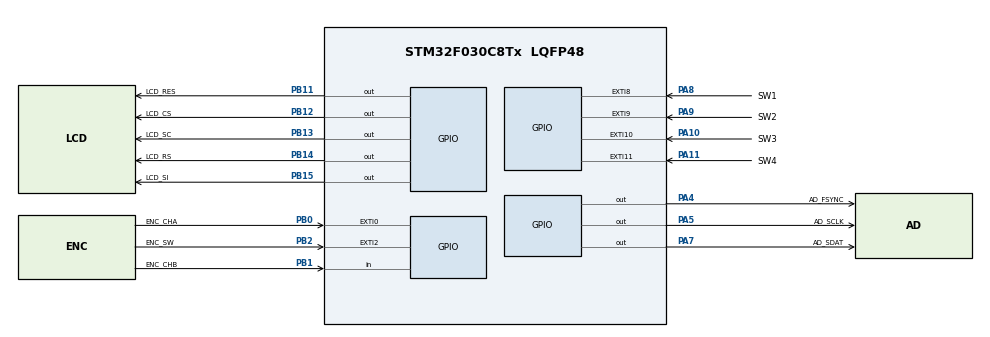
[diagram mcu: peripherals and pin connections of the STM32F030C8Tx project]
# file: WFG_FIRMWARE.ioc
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Mcu.Family=STM32F0
Mcu.Name=STM32F030C8Tx
Mcu.Package=LQFP48
NVIC.EXTI0_1_IRQn=true\:0\:0\:false\:false\:true\:true\:true\:true
NVIC.EXTI2_3_IRQn=true\:0\:0\:false\:false\:true\:true\:true\:true
NVIC.EXTI4_15_IRQn=true\:0\:0\:false\:false\:true\:true\:true\:true
PA10.GPIO_Label=SW3
PA10.GPIO_ModeDefaultEXTI=GPIO_MODE_IT_FALLING
PA10.GPIO_PuPd=GPIO_PULLUP
PA10.Signal=GPXTI10
PA11.GPIO_Label=SW4
PA11.GPIO_ModeDefaultEXTI=GPIO_MODE_IT_FALLING
PA11.GPIO_PuPd=GPIO_PULLUP
PA11.Signal=GPXTI11
PA4.GPIO_Label=AD_FSYNC
PA4.Signal=GPIO_Output
PA5.GPIO_Label=AD_SCLK
PA5.Signal=GPIO_Output
PA7.GPIO_Label=AD_SDAT
PA7.Signal=GPIO_Output
PA8.GPIO_Label=SW1
PA8.GPIO_ModeDefaultEXTI=GPIO_MODE_IT_FALLING
PA8.GPIO_PuPd=GPIO_PULLUP
PA8.Signal=GPXTI8
PA9.GPIO_Label=SW2
PA9.GPIO_ModeDefaultEXTI=GPIO_MODE_IT_FALLING
PA9.GPIO_PuPd=GPIO_PULLUP
PA9.Signal=GPXTI9
PB0.GPIO_Label=ENC_CHA
PB0.GPIO_ModeDefaultEXTI=GPIO_MODE_IT_FALLING
PB0.GPIO_PuPd=GPIO_PULLUP
PB0.Signal=GPXTI0
PB1.GPIO_Label=ENC_CHB
PB1.GPIO_PuPd=GPIO_PULLUP
PB1.Signal=GPIO_Input
PB11.GPIO_Label=LCD_RES
PB11.Signal=GPIO_Output
PB12.GPIO_Label=LCD_CS
PB12.Signal=GPIO_Output
PB13.GPIO_Label=LCD_SC
PB13.Signal=GPIO_Output
PB14.GPIO_Label=LCD_RS
PB14.Signal=GPIO_Output
PB15.GPIO_Label=LCD_SI
PB15.Signal=GPIO_Output
PB2.GPIO_Label=ENC_SW
PB2.GPIO_ModeDefaultEXTI=GPIO_MODE_IT_FALLING
PB2.GPIO_PuPd=GPIO_PULLUP
PB2.Signal=GPXTI2
ProjectManager.HeapSize=0x200
ProjectManager.StackSize=0x400
ProjectManager.TargetToolchain=STM32CubeIDE
board=custom

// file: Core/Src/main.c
/* USER CODE BEGIN Header */
/**
 ******************************************************************************
 * @file           : main.c
 * @brief          : Main program body
 ******************************************************************************
 * @attention
 *
 * Copyright (c) 2026 STMicroelectronics.
 * All rights reserved.
 *
 * This software is licensed under terms that can be found in the LICENSE file
 * in the root directory of this software component.
 * If no LICENSE file comes with this software, it is provided AS-IS.
 *
 ******************************************************************************
 */
/* USER CODE END Header */
#include "main.h"

/* USER CODE BEGIN Includes */
#include "ad9833.h"
#include "st7565r.h"
#include <stdio.h>
/* USER CODE END Includes */

/* USER CODE BEGIN PTD */
enum Mode {
  MODE_FREQUENCY,
  MODE_PHASE
};
/* USER CODE END PTD */

/* USER CODE BEGIN PD */
#define AD9833_FREQ_MAX 100000ULL // 100 kHz
#define AD9833_FREQ_MIN 1ULL      // 1 Hz
#define AD9833_FREQ_STEP 1000ULL  // 1 kHz
/* USER CODE END PD */

/* USER CODE BEGIN PV */
uint32_t AD9833_Frequency = 1000; // 1 kHz
uint32_t AD9833_Phase = 0;        // 0 degrees
enum Mode AD9833_Mode = MODE_FREQUENCY;
AD9833_Waveform current_wave = AD9833_WAVEFORM_SINE;
/* USER CODE END PV */

void SystemClock_Config(void);
static void MX_GPIO_Init(void);
/* USER CODE BEGIN PFP */
void UpdateLCD(void);
/* USER CODE END PFP */

int main(void)
{

  /* MCU Configuration--------------------------------------------------------*/

  /* Reset of all peripherals, Initializes the Flash interface and the Systick. */
  HAL_Init();

  /* Configure the system clock */
  SystemClock_Config();

  /* Initialize all configured peripherals */
  MX_GPIO_Init();
  /* USER CODE BEGIN 2 */
  st7565r_Init();

  // Initialize AD9833 and generate a 1kHz sine wave
  AD9833_Init();
  AD9833_SetConfigF0P0(1000.0f, 0.0f, AD9833_WAVEFORM_SINE);
  /* USER CODE END 2 */

  /* Infinite loop */
  /* USER CODE BEGIN WHILE */
  while (1) {
    UpdateLCD();
    HAL_Delay(100);
    /* USER CODE END WHILE */

  }
}

void SystemClock_Config(void)
{
  RCC_OscInitTypeDef RCC_OscInitStruct = {0};
  RCC_ClkInitTypeDef RCC_ClkInitStruct = {0};

  /** Initializes the RCC Oscillators according to the specified parameters
  * in the RCC_OscInitTypeDef structure.
  */
  RCC_OscInitStruct.OscillatorType = RCC_OSCILLATORTYPE_HSI;
  RCC_OscInitStruct.HSIState = RCC_HSI_ON;
  RCC_OscInitStruct.HSICalibrationValue = RCC_HSICALIBRATION_DEFAULT;
  RCC_OscInitStruct.PLL.PLLState = RCC_PLL_NONE;
  if (HAL_RCC_OscConfig(&RCC_OscInitStruct) != HAL_OK)
  {
    Error_Handler();
  }

  /** Initializes the CPU, AHB and APB buses clocks
  */
  RCC_ClkInitStruct.ClockType = RCC_CLOCKTYPE_HCLK|RCC_CLOCKTYPE_SYSCLK
                              |RCC_CLOCKTYPE_PCLK1;
  RCC_ClkInitStruct.SYSCLKSource = RCC_SYSCLKSOURCE_HSI;
  RCC_ClkInitStruct.AHBCLKDivider = RCC_SYSCLK_DIV1;
  RCC_ClkInitStruct.APB1CLKDivider = RCC_HCLK_DIV1;

  if (HAL_RCC_ClockConfig(&RCC_ClkInitStruct, FLASH_LATENCY_0) != HAL_OK)
  {
    Error_Handler();
  }
}

static void MX_GPIO_Init(void)
{
  GPIO_InitTypeDef GPIO_InitStruct = {0};

  /* GPIO Ports Clock Enable */
  __HAL_RCC_GPIOA_CLK_ENABLE();
  __HAL_RCC_GPIOB_CLK_ENABLE();

  /*Configure GPIO pin Output Level */
  HAL_GPIO_WritePin(GPIOA, AD_FSYNC_Pin|AD_SCLK_Pin|AD_SDAT_Pin, GPIO_PIN_RESET);

  /*Configure GPIO pin Output Level */
  HAL_GPIO_WritePin(GPIOB, LCD_RES_Pin|LCD_CS_Pin|LCD_SC_Pin|LCD_RS_Pin
                          |LCD_SI_Pin, GPIO_PIN_RESET);

  /*Configure GPIO pins : AD_FSYNC_Pin AD_SCLK_Pin AD_SDAT_Pin */
  GPIO_InitStruct.Pin = AD_FSYNC_Pin|AD_SCLK_Pin|AD_SDAT_Pin;
  GPIO_InitStruct.Mode = GPIO_MODE_OUTPUT_PP;
  GPIO_InitStruct.Pull = GPIO_NOPULL;
  GPIO_InitStruct.Speed = GPIO_SPEED_FREQ_LOW;
  HAL_GPIO_Init(GPIOA, &GPIO_InitStruct);

  /*Configure GPIO pins : ENC_CHA_Pin ENC_SW_Pin */
  GPIO_InitStruct.Pin = ENC_CHA_Pin|ENC_SW_Pin;
  GPIO_InitStruct.Mode = GPIO_MODE_IT_FALLING;
  GPIO_InitStruct.Pull = GPIO_PULLUP;
  HAL_GPIO_Init(GPIOB, &GPIO_InitStruct);

  /*Configure GPIO pin : ENC_CHB_Pin */
  GPIO_InitStruct.Pin = ENC_CHB_Pin;
  GPIO_InitStruct.Mode = GPIO_MODE_INPUT;
  GPIO_InitStruct.Pull = GPIO_PULLUP;
  HAL_GPIO_Init(ENC_CHB_GPIO_Port, &GPIO_InitStruct);

  /*Configure GPIO pins : LCD_RES_Pin LCD_CS_Pin LCD_SC_Pin LCD_RS_Pin
                           LCD_SI_Pin */
  GPIO_InitStruct.Pin = LCD_RES_Pin|LCD_CS_Pin|LCD_SC_Pin|LCD_RS_Pin
                          |LCD_SI_Pin;
  GPIO_InitStruct.Mode = GPIO_MODE_OUTPUT_PP;
  GPIO_InitStruct.Pull = GPIO_NOPULL;
  GPIO_InitStruct.Speed = GPIO_SPEED_FREQ_LOW;
  HAL_GPIO_Init(GPIOB, &GPIO_InitStruct);

  /*Configure GPIO pins : SW1_Pin SW2_Pin SW3_Pin SW4_Pin */
  GPIO_InitStruct.Pin = SW1_Pin|SW2_Pin|SW3_Pin|SW4_Pin;
  GPIO_InitStruct.Mode = GPIO_MODE_IT_FALLING;
  GPIO_InitStruct.Pull = GPIO_PULLUP;
  HAL_GPIO_Init(GPIOA, &GPIO_InitStruct);

  /* EXTI interrupt init*/
  HAL_NVIC_SetPriority(EXTI0_1_IRQn, 0, 0);
  HAL_NVIC_EnableIRQ(EXTI0_1_IRQn);

  HAL_NVIC_SetPriority(EXTI2_3_IRQn, 0, 0);
  HAL_NVIC_EnableIRQ(EXTI2_3_IRQn);

  HAL_NVIC_SetPriority(EXTI4_15_IRQn, 0, 0);
  HAL_NVIC_EnableIRQ(EXTI4_15_IRQn);

}

/* USER CODE BEGIN 4 */
void UpdateLCD(void)
{
    char buf[32];
    st7565r_Fill(Black);

    // Waveform Type
    st7565r_SetCursor(0, 0);
    switch (current_wave) {
        case AD9833_WAVEFORM_SINE:        st7565r_WriteString("Wave: Sine", Font_7x10, White); break;
        case AD9833_WAVEFORM_TRIANGLE:    st7565r_WriteString("Wave: Triangle", Font_7x10, White); break;
        case AD9833_WAVEFORM_SQUARE:      st7565r_WriteString("Wave: Square", Font_7x10, White); break;
        case AD9833_WAVEFORM_SQUARE_HALF: st7565r_WriteString("Wave: Sq Half", Font_7x10, White); break;
    }

    // Frequency
    st7565r_SetCursor(0, 12);
    sprintf(buf, "Freq: %lu Hz %s", (unsigned long)AD9833_Frequency, (AD9833_Mode == MODE_FREQUENCY) ? "<" : "");
    st7565r_WriteString(buf, Font_7x10, White);

    // Phase
    st7565r_SetCursor(0, 24);
    sprintf(buf, "Phase: %lu deg %s", (unsigned long)AD9833_Phase, (AD9833_Mode == MODE_PHASE) ? "<" : "");
    st7565r_WriteString(buf, Font_7x10, White);

    st7565r_UpdateScreen();
}

void HAL_GPIO_EXTI_Callback(uint16_t GPIO_Pin)
{
  static uint32_t last_interrupt_time = 0;
  uint32_t interrupt_time = HAL_GetTick();

  // debounce 50ms
  if (interrupt_time - last_interrupt_time > 50)
  {

    switch (GPIO_Pin)
    {
      case SW1_Pin:
        current_wave = AD9833_WAVEFORM_SINE;
        AD9833_SetWaveform(current_wave);
        break;
      case SW2_Pin:
        current_wave = AD9833_WAVEFORM_SQUARE;
        AD9833_SetWaveform(current_wave);
        break;
      case SW3_Pin:
        current_wave = AD9833_WAVEFORM_TRIANGLE;
        AD9833_SetWaveform(current_wave);
        break;
      case SW4_Pin:
        current_wave = AD9833_WAVEFORM_SQUARE_HALF;
        AD9833_SetWaveform(current_wave);
        break;

      case ENC_CHA_Pin: {
        static uint32_t last_enc_time = 0;
        if (interrupt_time - last_enc_time > 150) {
            last_enc_time = interrupt_time;
            if (AD9833_Mode == MODE_FREQUENCY) {
              // cw: channel signals are opposite values
              if (HAL_GPIO_ReadPin(ENC_CHB_GPIO_Port, ENC_CHB_Pin) == GPIO_PIN_SET) {
            // increase frequency
            if (AD9833_Frequency == AD9833_FREQ_MIN) {
              AD9833_Frequency = AD9833_FREQ_STEP; // Snap from 1Hz to 1000Hz
            } else if (AD9833_Frequency <= AD9833_FREQ_MAX - AD9833_FREQ_STEP) {
              AD9833_Frequency += AD9833_FREQ_STEP;
            } else {
              AD9833_Frequency = AD9833_FREQ_MAX;
            }
          // ccw: channel signals are same values
          } else {
            // decrease frequency
            if (AD9833_Frequency <= AD9833_FREQ_STEP) {
              AD9833_Frequency = AD9833_FREQ_MIN; // Snap down to 1Hz
            } else {
              AD9833_Frequency -= AD9833_FREQ_STEP;
            }
          }
          AD9833_SetFrequency_0((float)AD9833_Frequency);
        }
        else if (AD9833_Mode == MODE_PHASE) {
          // cw: channel signals are opposite values
          if (HAL_GPIO_ReadPin(ENC_CHB_GPIO_Port, ENC_CHB_Pin) == GPIO_PIN_SET) {
            // increase phase
            AD9833_Phase = (AD9833_Phase + 45) % 360;
          // ccw: channel signals are same values
          } else {
            // decrease phase
            if (AD9833_Phase < 45) {
              AD9833_Phase = 360 - (45 - AD9833_Phase);
            } else {
              AD9833_Phase -= 45;
            }
          }
          AD9833_SetPhase_0((float)AD9833_Phase);
        }
        } // end of encoder debounce
        break;
      }
      case ENC_SW_Pin:
        // Rotary encoder button pressed
        AD9833_Mode = !AD9833_Mode;
        AD9833_SetPhase_0((float)AD9833_Phase);
        break;
    }
  }
  last_interrupt_time = interrupt_time;
}
/* USER CODE END 4 */

void Error_Handler(void)
{
  __disable_irq();
  while (1) {
  }
}
#ifdef USE_FULL_ASSERT
/**
  * @brief  Reports the name of the source file and the source line number
  *         where the assert_param error has occurred.
  * @param  file: pointer to the source file name
  * @param  line: assert_param error line source number
  * @retval None
  */
void assert_failed(uint8_t *file, uint32_t line)
{
  /* USER CODE BEGIN 6 */
  /* User can add his own implementation to report the file name and line
     number, ex: printf("Wrong parameters value: file %s on line %d\r\n", file,
     line) */
  /* USER CODE END 6 */
}
#endif /* USE_FULL_ASSERT */
